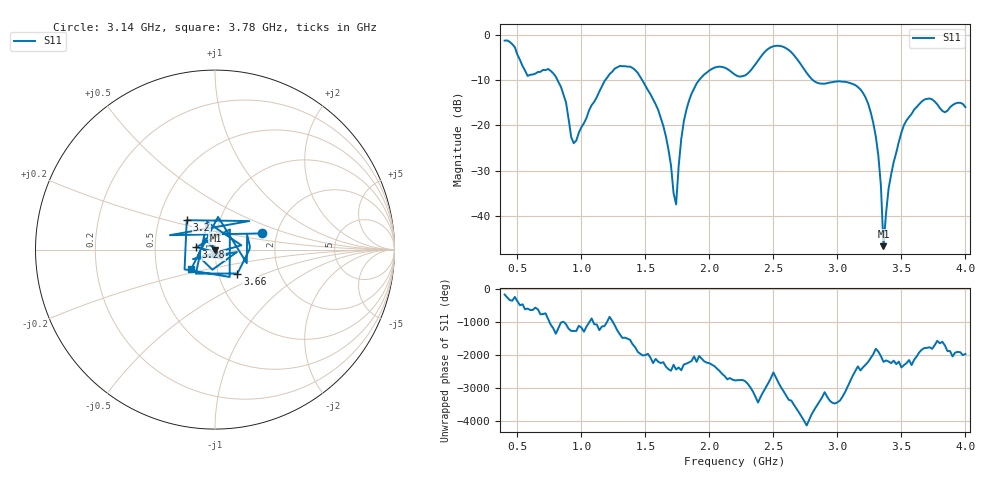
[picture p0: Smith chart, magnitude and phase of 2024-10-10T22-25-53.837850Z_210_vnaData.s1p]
! Created with skrf (http://scikit-rf.org).
# Hz S RI R 50.0
!freq ReS11 ImS11
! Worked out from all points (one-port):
!   181 points, 400 MHz to 4 GHz, reference 50 ohm
!   lowest |S11| = -46.7 dB at 3.36 GHz (marker M1), VSWR 1.01, Z = 50.2 - j0.397 ohm
!   |S11| at or under -10 dB: 812.3 MHz to 1.188 GHz (375.7 MHz wide, 37.6 % of centre); 1.474 GHz to 1.921 GHz (446.9 MHz wide, 26.3 % of centre); 2.807 GHz to end of sweep
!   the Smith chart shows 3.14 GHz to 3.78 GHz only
!   S11 on the Smith chart (normalised r, x): 3.14 GHz: 1.67, +0.33; 3.2 GHz: 0.69, +0.24; 3.28 GHz: 0.81, +0.02; 3.66 GHz: 1.23, -0.34; 3.78 GHz: 0.75, -0.16
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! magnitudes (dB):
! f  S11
! 400 MHz  -1.3
! 580 MHz  -9.1
! 740 MHz  -7.6
! 860 MHz  -13.3
! 940 MHz  -24.0
! 1.3 GHz  -6.9
! 1.44 GHz  -8.4
! 1.6 GHz  -16.6
! 1.68 GHz  -25.3
! 1.74 GHz  -37.5
! 1.76 GHz  -29.0
! 1.8 GHz  -19.2
! 1.9 GHz  -10.8
! 2.2 GHz  -8.9
! 2.5 GHz  -2.6
! 2.66 GHz  -4.5
! 2.84 GHz  -10.6
! 3.1 GHz  -10.7
! 3.14 GHz  -11.1
! 3.2 GHz  -12.9
! 3.28 GHz  -19.5
! 3.34 GHz  -33.3
! 3.36 GHz  -46.7
! 3.42 GHz  -30.9
! 3.56 GHz  -18.2
! 3.66 GHz  -14.8
! 3.78 GHz  -15.4
! 4 GHz  -16.0
